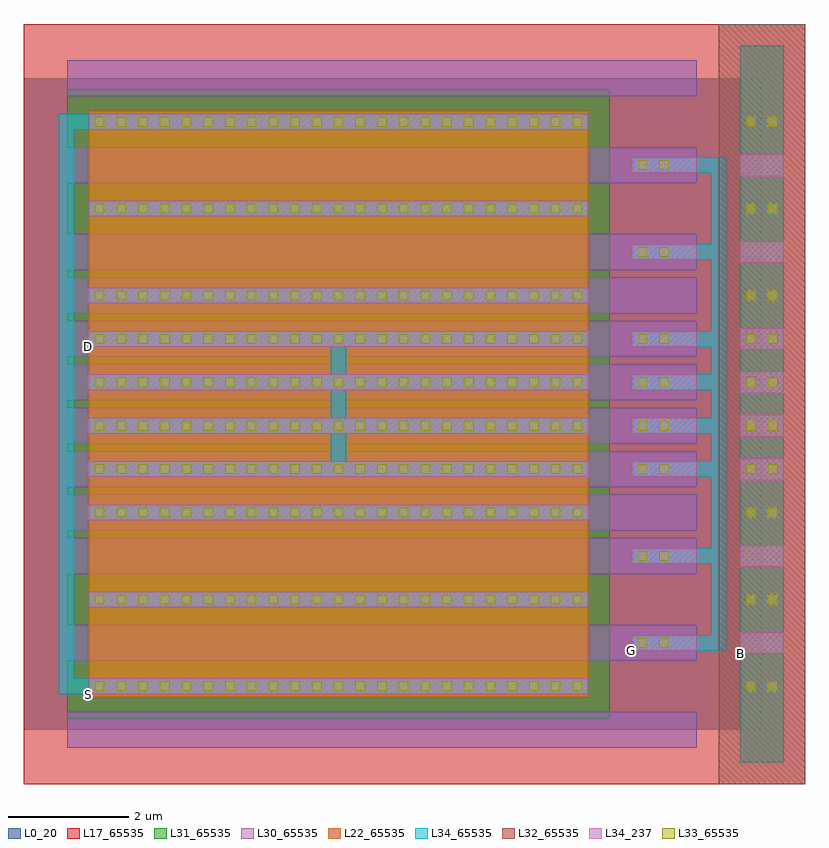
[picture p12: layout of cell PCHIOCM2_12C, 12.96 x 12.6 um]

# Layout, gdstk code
import gdstk
lib = gdstk.Library(unit=1e-6, precision=1e-09)
def R(c, l, rs):  # rectangles x0, y0, x1, y1
    for r in rs: c.add(gdstk.rectangle(r[:2], r[2:], *l))
def A(c, l, x, y, w, h, nx, ny, dx, dy):  # array of equal rectangles
    R(c, l, [(x+i*dx, y+j*dy, x+i*dx+w, y+j*dy+h) for i in range(nx) for j in range(ny)])
L0_20 = (0, 20)
L17_65535 = (17, 65535)
L22_65535 = (22, 65535)
L30_65535 = (30, 65535)
L31_65535 = (31, 65535)
L32_65535 = (32, 65535)
L33_65535 = (33, 65535)
L34_237 = (34, 237)
L34_65535 = (34, 65535)

pchio_12c = lib.new_cell('PCHIO_12C')
R(pchio_12c, L0_20, [(0,0,12.24,2.88)])
R(pchio_12c, L17_65535, [(0,-0.9,12.96,3.78)])
A(pchio_12c, L22_65535, 11.88, -0.54, 0.72, 0.36, 1, 11, 0, 0.36)
A(pchio_12c, L22_65535, 1.08, 0.54, 8.28, 0.36, 1, 5, 0, 0.36)
A(pchio_12c, L30_65535, 0.72, -0.3, 10.44, 0.6, 1, 3, 0, 1.44)
R(pchio_12c, L31_65535, [(0.72,0.18,9.72,2.7)])
R(pchio_12c, L32_65535, [(11.52,-0.9,12.96,3.78)])
A(pchio_12c, L33_65535, 1.18, 0.64, 0.16, 0.16, 23, 2, 0.36, 1.44)
R(pchio_12c, L33_65535, [(11.98,0.64,12.14,0.8), (12.34,0.64,12.5,0.8), (10.18,1.36,10.34,1.52), (10.54,1.36,10.7,1.52), (11.98,2.08,12.14,2.24), (12.34,2.08,12.5,2.24)])
R(pchio_12c, L34_237, [(1.08,0.59,9.36,0.85), (11.88,1.26,12.6,1.62), (10.08,1.31,11.16,1.57), (1.08,2.03,9.36,2.29)])
A(pchio_12c, L34_65535, 11.88, -0.54, 0.72, 0.36, 1, 11, 0, 0.36)
R(pchio_12c, L34_65535, [(1.08,0.59,9.36,0.85), (10.08,1.31,11.16,1.57), (1.08,2.03,9.36,2.29)])
pchio_12c.add(gdstk.Label('G', (10.08,1.31), layer=34, texttype=237))
pchio_12c.add(gdstk.Label('S', (1.08,0.59), layer=34, texttype=237))
pchio_12c.add(gdstk.Label('B', (11.88,1.26), layer=34, texttype=237))
pchio_12c.add(gdstk.Label('D', (1.08,2.03), layer=34, texttype=237))

pchiocm_12c = lib.new_cell('PCHIOCM_12C')
R(pchiocm_12c, L0_20, [(0,0,12.24,7.2)])
R(pchiocm_12c, L34_237, [(1.08,0.59,9.36,0.85), (10.08,1.31,11.16,1.57), (1.08,6.35,9.36,6.61)])
A(pchiocm_12c, L34_65535, 10.62, 1.31, 0.78, 0.26, 1, 4, 0, 1.44)
R(pchiocm_12c, L34_65535, [(11.4,1.31,11.66,5.89)])
pchiocm_12c.add(gdstk.Reference(pchio_12c, (0,0)))
pchiocm_12c.add(gdstk.Reference(pchio_12c, (0,1.44)))
pchiocm_12c.add(gdstk.Reference(pchio_12c, (0,2.88)))
pchiocm_12c.add(gdstk.Reference(pchio_12c, (0,4.32)))
pchiocm_12c.add(gdstk.Label('G', (10.08,1.31), layer=58, texttype=65535))
pchiocm_12c.add(gdstk.Label('D', (1.08,6.35), layer=34, texttype=237))
pchiocm_12c.add(gdstk.Label('G', (10.08,1.31), layer=34, texttype=237))
pchiocm_12c.add(gdstk.Label('S', (1.08,0.59), layer=34, texttype=237))

pchiocm2_12c = lib.new_cell('PCHIOCM2_12C')
R(pchiocm2_12c, L0_20, [(0,0,12.24,10.8)])
R(pchiocm2_12c, L34_237, [(1.08,0.59,9.36,0.85), (11.88,1.26,12.6,1.62), (10.08,1.31,11.16,1.57), (1.08,6.35,9.36,6.61)])
R(pchiocm2_12c, L34_65535, [(0.58,0.59,5.22,0.85), (0.58,0.59,0.84,10.21), (10.62,1.31,11.4,1.57), (11.4,1.31,11.66,5.17), (5.09,4.19,5.35,6.61), (10.62,4.91,11.4,5.17), (0.58,9.95,5.22,10.21)])
pchiocm2_12c.add(gdstk.Reference(pchiocm_12c, (0,0)))
pchiocm2_12c.add(gdstk.Reference(pchiocm_12c, (0,3.6)))
pchiocm2_12c.add(gdstk.Label('S', (1.08,0.59), layer=58, texttype=65535))
pchiocm2_12c.add(gdstk.Label('G', (10.08,1.31), layer=58, texttype=65535))
pchiocm2_12c.add(gdstk.Label('D', (1.08,6.35), layer=58, texttype=65535))
pchiocm2_12c.add(gdstk.Label('B', (11.88,1.26), layer=34, texttype=237))
pchiocm2_12c.add(gdstk.Label('D', (1.08,6.35), layer=34, texttype=237))
pchiocm2_12c.add(gdstk.Label('G', (10.08,1.31), layer=34, texttype=237))
pchiocm2_12c.add(gdstk.Label('S', (1.08,0.59), layer=34, texttype=237))

lib.write_gds('PCHIOCM2_12C.gds')
